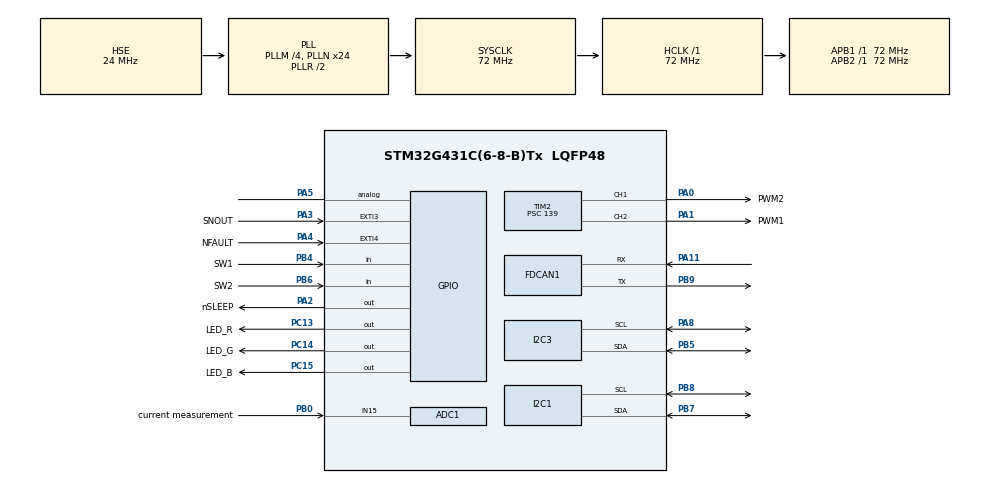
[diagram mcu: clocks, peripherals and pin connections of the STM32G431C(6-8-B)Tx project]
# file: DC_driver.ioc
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ADC1.Channel-10\#ChannelRegularConversion=ADC_CHANNEL_15
ADC1.ClockPrescaler=ADC_CLOCK_SYNC_PCLK_DIV2
ADC1.ContinuousConvMode=ENABLE
ADC1.DMAContinuousRequests=ENABLE
ADC1.NbrOfConversion=1
ADC1.NbrOfConversionFlag=1
ADC1.OffsetNumber-10\#ChannelRegularConversion=ADC_OFFSET_NONE
ADC1.Overrun=ADC_OVR_DATA_OVERWRITTEN
ADC1.Rank-10\#ChannelRegularConversion=1
ADC1.SamplingTime-10\#ChannelRegularConversion=ADC_SAMPLETIME_640CYCLES_5
ADC1.master=1
Dma.ADC1.0.Direction=DMA_PERIPH_TO_MEMORY
Dma.ADC1.0.EventEnable=DISABLE
Dma.ADC1.0.Instance=DMA1_Channel1
Dma.ADC1.0.MemDataAlignment=DMA_MDATAALIGN_HALFWORD
Dma.ADC1.0.MemInc=DMA_MINC_ENABLE
Dma.ADC1.0.Mode=DMA_CIRCULAR
Dma.ADC1.0.PeriphDataAlignment=DMA_PDATAALIGN_HALFWORD
Dma.ADC1.0.PeriphInc=DMA_PINC_DISABLE
Dma.ADC1.0.Polarity=HAL_DMAMUX_REQ_GEN_RISING
Dma.ADC1.0.Priority=DMA_PRIORITY_LOW
Dma.ADC1.0.RequestNumber=1
Dma.ADC1.0.SignalID=NONE
Dma.ADC1.0.SyncEnable=DISABLE
Dma.ADC1.0.SyncPolarity=HAL_DMAMUX_SYNC_NO_EVENT
Dma.ADC1.0.SyncRequestNumber=1
Dma.ADC1.0.SyncSignalID=NONE
Dma.Request0=ADC1
FDCAN1.CalculateBaudRateNominal=900000
FDCAN1.CalculateTimeBitNominal=1111
FDCAN1.CalculateTimeQuantumNominal=222.22222222222223
I2C1.Timing=0x10C18DCC
I2C3.Timing=0x10C18DCC
Mcu.Family=STM32G4
Mcu.Name=STM32G431C(6-8-B)Tx
Mcu.Package=LQFP48
NVIC.DMA1_Channel1_IRQn=true\:2\:0\:true\:false\:true\:false\:true\:true
NVIC.EXTI3_IRQn=true\:8\:0\:true\:false\:true\:true\:true\:true
NVIC.EXTI4_IRQn=true\:8\:0\:true\:false\:true\:true\:true\:true
NVIC.I2C1_ER_IRQn=true\:0\:0\:false\:false\:true\:true\:true\:true
NVIC.I2C1_EV_IRQn=true\:4\:0\:true\:false\:true\:true\:true\:true
NVIC.I2C3_ER_IRQn=true\:0\:0\:false\:false\:true\:true\:true\:true
NVIC.I2C3_EV_IRQn=true\:4\:0\:true\:false\:true\:true\:true\:true
NVIC.PVD_PVM_IRQn=true\:10\:0\:true\:false\:true\:true\:true\:true
NVIC.PriorityGroup=NVIC_PRIORITYGROUP_4
NVIC.RCC_IRQn=true\:1\:0\:true\:false\:true\:true\:false\:true
NVIC.TIM2_IRQn=true\:2\:0\:true\:false\:true\:true\:true\:true
PA0.GPIO_Label=PWM2
PA0.Signal=S_TIM2_CH1
PA1.GPIO_Label=PWM1
PA1.Signal=S_TIM2_CH2
PA11.Mode=FDCAN_Activate
PA11.Signal=FDCAN1_RX
PA13.Mode=JTAG_4_pins
PA13.Signal=SYS_JTMS-SWDIO
PA14.Mode=JTAG_4_pins
PA14.Signal=SYS_JTCK-SWCLK
PA15.Mode=JTAG_4_pins
PA15.Signal=SYS_JTDI
PA2.GPIO_Label=nSLEEP
PA2.Signal=GPIO_Output
PA3.GPIO_Label=SNOUT
PA3.GPIO_PuPd=GPIO_PULLUP
PA3.Signal=GPXTI3
PA4.GPIO_Label=NFAULT
PA4.GPIO_PuPd=GPIO_PULLUP
PA4.Signal=GPXTI4
PA5.Signal=GPIO_Analog
PA8.Mode=I2C
PA8.Signal=I2C3_SCL
PB0.GPIO_Label=current measurement
PB0.Mode=IN15-Single-Ended
PB0.Signal=ADC1_IN15
PB3.Mode=JTAG_4_pins
PB3.Signal=SYS_JTDO-SWO
PB4.GPIO_Label=SW1
PB4.Signal=GPIO_Input
PB5.Mode=I2C
PB5.Signal=I2C3_SDA
PB6.GPIO_Label=SW2
PB6.Signal=GPIO_Input
PB7.Mode=I2C
PB7.Signal=I2C1_SDA
PB8-BOOT0.Mode=I2C
PB8-BOOT0.Signal=I2C1_SCL
PB9.Mode=FDCAN_Activate
PB9.Signal=FDCAN1_TX
PC13.GPIO_Label=LED_R
PC13.Signal=GPIO_Output
PC14-OSC32_IN.GPIO_Label=LED_G
PC14-OSC32_IN.Signal=GPIO_Output
PC15-OSC32_OUT.GPIO_Label=LED_B
PC15-OSC32_OUT.Signal=GPIO_Output
PF0-OSC_IN.Mode=HSE-External-Oscillator
PF0-OSC_IN.Signal=RCC_OSC_IN
PF1-OSC_OUT.Mode=HSE-External-Oscillator
PF1-OSC_OUT.Signal=RCC_OSC_OUT
ProjectManager.HeapSize=0x200
ProjectManager.StackSize=0x400
ProjectManager.TargetToolchain=STM32CubeIDE
RCC.ADC12Freq_Value=72000000
RCC.AHBFreq_Value=72000000
RCC.APB1Freq_Value=72000000
RCC.APB1TimFreq_Value=72000000
RCC.APB2Freq_Value=72000000
RCC.APB2TimFreq_Value=72000000
RCC.CortexFreq_Value=72000000
RCC.EXTERNAL_CLOCK_VALUE=12288000
RCC.HCLKFreq_Value=72000000
RCC.HSE_VALUE=24000000
RCC.HSI48_VALUE=48000000
RCC.HSI_VALUE=16000000
RCC.LSE_VALUE=32768
RCC.PLLM=RCC_PLLM_DIV4
RCC.PLLN=24
RCC.PLLSourceVirtual=RCC_PLLSOURCE_HSE
RCC.SYSCLKFreq_VALUE=72000000
RCC.SYSCLKSource=RCC_SYSCLKSOURCE_PLLCLK
RCC.USBFreq_Value=72000000
RCC.VCOOutputFreq_Value=144000000
SH.S_TIM2_CH1.0=TIM2_CH1,PWM Generation1 CH1
SH.S_TIM2_CH2.0=TIM2_CH2,PWM Generation2 CH2
TIM2.AutoReloadPreload=TIM_AUTORELOAD_PRELOAD_ENABLE
TIM2.Channel-PWM\ Generation1\ CH1=TIM_CHANNEL_1
TIM2.Channel-PWM\ Generation2\ CH2=TIM_CHANNEL_2
TIM2.PeriodNoDither=1022
TIM2.Prescaler=139
TIM2.PulseNoDither_1=0
VP_SYS_VS_DBSignals.Mode=DisableDeadBatterySignals
VP_TIM2_VS_ClockSourceINT.Mode=Internal
board=custom

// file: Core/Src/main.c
/* USER CODE BEGIN Header */
/**
  ******************************************************************************
  * @file           : main.c
  * @brief          : Main program body
  ******************************************************************************
  * @attention
  *
  * Copyright (c) 2024 STMicroelectronics.
  * All rights reserved.
  *
  * This software is licensed under terms that can be found in the LICENSE file
  * in the root directory of this software component.
  * If no LICENSE file comes with this software, it is provided AS-IS.
  *
  ******************************************************************************
  */
/* USER CODE END Header */
#include "main.h"

/* USER CODE BEGIN Includes */
#include "../ECUAL/DC_MOTOR/DC_MOTOR.h"
/* USER CODE END Includes */

ADC_HandleTypeDef hadc1;
DMA_HandleTypeDef hdma_adc1;

FDCAN_HandleTypeDef hfdcan1;

I2C_HandleTypeDef hi2c1;
I2C_HandleTypeDef hi2c3;

TIM_HandleTypeDef htim2;

/* USER CODE BEGIN PV */
#define DC_MOTOR1    0
#define V_OFF 0
#define AV 20
#define R_SENSE 13
/* USER CODE END PV */

void SystemClock_Config(void);
static void MX_GPIO_Init(void);
static void MX_DMA_Init(void);
static void MX_ADC1_Init(void);
static void MX_FDCAN1_Init(void);
static void MX_I2C1_Init(void);
static void MX_I2C3_Init(void);
static void MX_TIM2_Init(void);

/* USER CODE BEGIN 0 */
double current_value(uint16_t voltage)
{
	double current;
	voltage = (voltage*3.3)/4096;
	current = (voltage-V_OFF)/(AV*R_SENSE*0.001);
	return current;
}
/* USER CODE END 0 */

int main(void)
{

	motor_parameters motor1;

  /* MCU Configuration--------------------------------------------------------*/

  /* Reset of all peripherals, Initializes the Flash interface and the Systick. */
  HAL_Init();

  /* Configure the system clock */
  SystemClock_Config();

  /* Initialize all configured peripherals */
  MX_GPIO_Init();
  MX_DMA_Init();
  MX_ADC1_Init();
  MX_FDCAN1_Init();
  MX_I2C1_Init();
  MX_I2C3_Init();
  MX_TIM2_Init();
  /* USER CODE BEGIN 2 */
  HAL_GPIO_WritePin(nSLEEP_GPIO_Port, nSLEEP_Pin, 1);
  HAL_GPIO_WritePin(LED_R_GPIO_Port, LED_R_Pin, 1);
  HAL_GPIO_WritePin(LED_G_GPIO_Port, LED_G_Pin, 0);
  HAL_GPIO_WritePin(LED_B_GPIO_Port, LED_B_Pin, 0);

  volatile static uint16_t voltage_value;
  HAL_ADCEx_Calibration_Start(&hadc1, ADC_SINGLE_ENDED);
  HAL_ADC_Start_DMA(&hadc1, (uint32_t*)&voltage_value, 1);
  DC_MOTOR_Init(DC_MOTOR1, &motor1);

  //DC_MOTOR_Start(DC_MOTOR1, &htim2, DIR_CCW, 0);
  //DC_MOTOR_Set_Speed(DC_MOTOR1, 500);
  //HAL_TIM_PWM_Start(&htim2, TIM_CHANNEL_2);
  //TIM2->CCR2 = 0;

  /* USER CODE END 2 */

  /* Infinite loop */
  /* USER CODE BEGIN WHILE */

  while (1)
  {
	  DC_MOTOR_Set_Dir(DC_MOTOR1, &htim2, &motor1);
	  DC_MOTOR_Set_Speed(DC_MOTOR1, &motor1);

	  while(motor1.speed < 1022)
	          {
	              DC_MOTOR_Set_Speed(DC_MOTOR1, &motor1);
	              motor1.speed += 1;
	              HAL_Delay(1);
	          }
	  while(motor1.speed > 100)
	  	  	  {
		  DC_MOTOR_Set_Speed(DC_MOTOR1, &motor1);
		  motor1.speed -= 1;
	      HAL_Delay(1);
	          }

	 if(motor1.dir == DIR_CW){
		 motor1.dir = DIR_CCW;
		 DC_MOTOR_Stop(DC_MOTOR1, &htim2, &motor1);
	 }else if(motor1.dir==DIR_CCW){
		 motor1.dir = DIR_CW;
		 DC_MOTOR_Stop(DC_MOTOR1, &htim2, &motor1);
	 }
	// DC_MOTOR_Set_Dir(DC_MOTOR1, &htim2, dir);
	 HAL_Delay(2000);

    /* USER CODE END WHILE */

  }
}

void SystemClock_Config(void)
{
  RCC_OscInitTypeDef RCC_OscInitStruct = {0};
  RCC_ClkInitTypeDef RCC_ClkInitStruct = {0};

  /** Configure the main internal regulator output voltage
  */
  HAL_PWREx_ControlVoltageScaling(PWR_REGULATOR_VOLTAGE_SCALE1);

  /** Initializes the RCC Oscillators according to the specified parameters
  * in the RCC_OscInitTypeDef structure.
  */
  RCC_OscInitStruct.OscillatorType = RCC_OSCILLATORTYPE_HSE;
  RCC_OscInitStruct.HSEState = RCC_HSE_ON;
  RCC_OscInitStruct.PLL.PLLState = RCC_PLL_ON;
  RCC_OscInitStruct.PLL.PLLSource = RCC_PLLSOURCE_HSE;
  RCC_OscInitStruct.PLL.PLLM = RCC_PLLM_DIV4;
  RCC_OscInitStruct.PLL.PLLN = 24;
  RCC_OscInitStruct.PLL.PLLP = RCC_PLLP_DIV2;
  RCC_OscInitStruct.PLL.PLLQ = RCC_PLLQ_DIV2;
  RCC_OscInitStruct.PLL.PLLR = RCC_PLLR_DIV2;
  if (HAL_RCC_OscConfig(&RCC_OscInitStruct) != HAL_OK)
  {
    Error_Handler();
  }

  /** Initializes the CPU, AHB and APB buses clocks
  */
  RCC_ClkInitStruct.ClockType = RCC_CLOCKTYPE_HCLK|RCC_CLOCKTYPE_SYSCLK
                              |RCC_CLOCKTYPE_PCLK1|RCC_CLOCKTYPE_PCLK2;
  RCC_ClkInitStruct.SYSCLKSource = RCC_SYSCLKSOURCE_PLLCLK;
  RCC_ClkInitStruct.AHBCLKDivider = RCC_SYSCLK_DIV1;
  RCC_ClkInitStruct.APB1CLKDivider = RCC_HCLK_DIV1;
  RCC_ClkInitStruct.APB2CLKDivider = RCC_HCLK_DIV1;

  if (HAL_RCC_ClockConfig(&RCC_ClkInitStruct, FLASH_LATENCY_2) != HAL_OK)
  {
    Error_Handler();
  }
}

static void MX_ADC1_Init(void)
{

  ADC_MultiModeTypeDef multimode = {0};
  ADC_ChannelConfTypeDef sConfig = {0};

  /** Common config
  */
  hadc1.Instance = ADC1;
  hadc1.Init.ClockPrescaler = ADC_CLOCK_SYNC_PCLK_DIV2;
  hadc1.Init.Resolution = ADC_RESOLUTION_12B;
  hadc1.Init.DataAlign = ADC_DATAALIGN_RIGHT;
  hadc1.Init.GainCompensation = 0;
  hadc1.Init.ScanConvMode = ADC_SCAN_DISABLE;
  hadc1.Init.EOCSelection = ADC_EOC_SINGLE_CONV;
  hadc1.Init.LowPowerAutoWait = DISABLE;
  hadc1.Init.ContinuousConvMode = ENABLE;
  hadc1.Init.NbrOfConversion = 1;
  hadc1.Init.DiscontinuousConvMode = DISABLE;
  hadc1.Init.ExternalTrigConv = ADC_SOFTWARE_START;
  hadc1.Init.ExternalTrigConvEdge = ADC_EXTERNALTRIGCONVEDGE_NONE;
  hadc1.Init.DMAContinuousRequests = ENABLE;
  hadc1.Init.Overrun = ADC_OVR_DATA_OVERWRITTEN;
  hadc1.Init.OversamplingMode = DISABLE;
  if (HAL_ADC_Init(&hadc1) != HAL_OK)
  {
    Error_Handler();
  }

  /** Configure the ADC multi-mode
  */
  multimode.Mode = ADC_MODE_INDEPENDENT;
  if (HAL_ADCEx_MultiModeConfigChannel(&hadc1, &multimode) != HAL_OK)
  {
    Error_Handler();
  }

  /** Configure Regular Channel
  */
  sConfig.Channel = ADC_CHANNEL_15;
  sConfig.Rank = ADC_REGULAR_RANK_1;
  sConfig.SamplingTime = ADC_SAMPLETIME_640CYCLES_5;
  sConfig.SingleDiff = ADC_SINGLE_ENDED;
  sConfig.OffsetNumber = ADC_OFFSET_NONE;
  sConfig.Offset = 0;
  if (HAL_ADC_ConfigChannel(&hadc1, &sConfig) != HAL_OK)
  {
    Error_Handler();
  }

}

static void MX_FDCAN1_Init(void)
{

  hfdcan1.Instance = FDCAN1;
  hfdcan1.Init.ClockDivider = FDCAN_CLOCK_DIV1;
  hfdcan1.Init.FrameFormat = FDCAN_FRAME_CLASSIC;
  hfdcan1.Init.Mode = FDCAN_MODE_NORMAL;
  hfdcan1.Init.AutoRetransmission = DISABLE;
  hfdcan1.Init.TransmitPause = DISABLE;
  hfdcan1.Init.ProtocolException = DISABLE;
  hfdcan1.Init.NominalPrescaler = 16;
  hfdcan1.Init.NominalSyncJumpWidth = 1;
  hfdcan1.Init.NominalTimeSeg1 = 2;
  hfdcan1.Init.NominalTimeSeg2 = 2;
  hfdcan1.Init.DataPrescaler = 1;
  hfdcan1.Init.DataSyncJumpWidth = 1;
  hfdcan1.Init.DataTimeSeg1 = 1;
  hfdcan1.Init.DataTimeSeg2 = 1;
  hfdcan1.Init.StdFiltersNbr = 0;
  hfdcan1.Init.ExtFiltersNbr = 0;
  hfdcan1.Init.TxFifoQueueMode = FDCAN_TX_FIFO_OPERATION;
  if (HAL_FDCAN_Init(&hfdcan1) != HAL_OK)
  {
    Error_Handler();
  }

}

static void MX_I2C1_Init(void)
{

  hi2c1.Instance = I2C1;
  hi2c1.Init.Timing = 0x10C18DCC;
  hi2c1.Init.OwnAddress1 = 0;
  hi2c1.Init.AddressingMode = I2C_ADDRESSINGMODE_7BIT;
  hi2c1.Init.DualAddressMode = I2C_DUALADDRESS_DISABLE;
  hi2c1.Init.OwnAddress2 = 0;
  hi2c1.Init.OwnAddress2Masks = I2C_OA2_NOMASK;
  hi2c1.Init.GeneralCallMode = I2C_GENERALCALL_DISABLE;
  hi2c1.Init.NoStretchMode = I2C_NOSTRETCH_DISABLE;
  if (HAL_I2C_Init(&hi2c1) != HAL_OK)
  {
    Error_Handler();
  }

  /** Configure Analogue filter
  */
  if (HAL_I2CEx_ConfigAnalogFilter(&hi2c1, I2C_ANALOGFILTER_ENABLE) != HAL_OK)
  {
    Error_Handler();
  }

  /** Configure Digital filter
  */
  if (HAL_I2CEx_ConfigDigitalFilter(&hi2c1, 0) != HAL_OK)
  {
    Error_Handler();
  }

}

static void MX_I2C3_Init(void)
{

  hi2c3.Instance = I2C3;
  hi2c3.Init.Timing = 0x10C18DCC;
  hi2c3.Init.OwnAddress1 = 0;
  hi2c3.Init.AddressingMode = I2C_ADDRESSINGMODE_7BIT;
  hi2c3.Init.DualAddressMode = I2C_DUALADDRESS_DISABLE;
  hi2c3.Init.OwnAddress2 = 0;
  hi2c3.Init.OwnAddress2Masks = I2C_OA2_NOMASK;
  hi2c3.Init.GeneralCallMode = I2C_GENERALCALL_DISABLE;
  hi2c3.Init.NoStretchMode = I2C_NOSTRETCH_DISABLE;
  if (HAL_I2C_Init(&hi2c3) != HAL_OK)
  {
    Error_Handler();
  }

  /** Configure Analogue filter
  */
  if (HAL_I2CEx_ConfigAnalogFilter(&hi2c3, I2C_ANALOGFILTER_ENABLE) != HAL_OK)
  {
    Error_Handler();
  }

  /** Configure Digital filter
  */
  if (HAL_I2CEx_ConfigDigitalFilter(&hi2c3, 0) != HAL_OK)
  {
    Error_Handler();
  }

}

static void MX_TIM2_Init(void)
{

  TIM_ClockConfigTypeDef sClockSourceConfig = {0};
  TIM_MasterConfigTypeDef sMasterConfig = {0};
  TIM_OC_InitTypeDef sConfigOC = {0};

  htim2.Instance = TIM2;
  htim2.Init.Prescaler = 139;
  htim2.Init.CounterMode = TIM_COUNTERMODE_UP;
  htim2.Init.Period = 1022;
  htim2.Init.ClockDivision = TIM_CLOCKDIVISION_DIV1;
  htim2.Init.AutoReloadPreload = TIM_AUTORELOAD_PRELOAD_ENABLE;
  if (HAL_TIM_Base_Init(&htim2) != HAL_OK)
  {
    Error_Handler();
  }
  sClockSourceConfig.ClockSource = TIM_CLOCKSOURCE_INTERNAL;
  if (HAL_TIM_ConfigClockSource(&htim2, &sClockSourceConfig) != HAL_OK)
  {
    Error_Handler();
  }
  if (HAL_TIM_PWM_Init(&htim2) != HAL_OK)
  {
    Error_Handler();
  }
  sMasterConfig.MasterOutputTrigger = TIM_TRGO_RESET;
  sMasterConfig.MasterSlaveMode = TIM_MASTERSLAVEMODE_DISABLE;
  if (HAL_TIMEx_MasterConfigSynchronization(&htim2, &sMasterConfig) != HAL_OK)
  {
    Error_Handler();
  }
  sConfigOC.OCMode = TIM_OCMODE_PWM1;
  sConfigOC.Pulse = 0;
  sConfigOC.OCPolarity = TIM_OCPOLARITY_HIGH;
  sConfigOC.OCFastMode = TIM_OCFAST_DISABLE;
  if (HAL_TIM_PWM_ConfigChannel(&htim2, &sConfigOC, TIM_CHANNEL_1) != HAL_OK)
  {
    Error_Handler();
  }
  if (HAL_TIM_PWM_ConfigChannel(&htim2, &sConfigOC, TIM_CHANNEL_2) != HAL_OK)
  {
    Error_Handler();
  }
  HAL_TIM_MspPostInit(&htim2);

}

static void MX_DMA_Init(void)
{

  /* DMA controller clock enable */
  __HAL_RCC_DMAMUX1_CLK_ENABLE();
  __HAL_RCC_DMA1_CLK_ENABLE();

  /* DMA interrupt init */
  /* DMA1_Channel1_IRQn interrupt configuration */
  HAL_NVIC_SetPriority(DMA1_Channel1_IRQn, 2, 0);
  HAL_NVIC_EnableIRQ(DMA1_Channel1_IRQn);

}

static void MX_GPIO_Init(void)
{
  GPIO_InitTypeDef GPIO_InitStruct = {0};

  /* GPIO Ports Clock Enable */
  __HAL_RCC_GPIOC_CLK_ENABLE();
  __HAL_RCC_GPIOF_CLK_ENABLE();
  __HAL_RCC_GPIOA_CLK_ENABLE();
  __HAL_RCC_GPIOB_CLK_ENABLE();

  /*Configure GPIO pin Output Level */
  HAL_GPIO_WritePin(GPIOC, LED_R_Pin|LED_G_Pin|LED_B_Pin, GPIO_PIN_RESET);

  /*Configure GPIO pin Output Level */
  HAL_GPIO_WritePin(nSLEEP_GPIO_Port, nSLEEP_Pin, GPIO_PIN_RESET);

  /*Configure GPIO pins : LED_R_Pin LED_G_Pin LED_B_Pin */
  GPIO_InitStruct.Pin = LED_R_Pin|LED_G_Pin|LED_B_Pin;
  GPIO_InitStruct.Mode = GPIO_MODE_OUTPUT_PP;
  GPIO_InitStruct.Pull = GPIO_NOPULL;
  GPIO_InitStruct.Speed = GPIO_SPEED_FREQ_LOW;
  HAL_GPIO_Init(GPIOC, &GPIO_InitStruct);

  /*Configure GPIO pin : nSLEEP_Pin */
  GPIO_InitStruct.Pin = nSLEEP_Pin;
  GPIO_InitStruct.Mode = GPIO_MODE_OUTPUT_PP;
  GPIO_InitStruct.Pull = GPIO_NOPULL;
  GPIO_InitStruct.Speed = GPIO_SPEED_FREQ_LOW;
  HAL_GPIO_Init(nSLEEP_GPIO_Port, &GPIO_InitStruct);

  /*Configure GPIO pins : SNOUT_Pin NFAULT_Pin */
  GPIO_InitStruct.Pin = SNOUT_Pin|NFAULT_Pin;
  GPIO_InitStruct.Mode = GPIO_MODE_IT_RISING;
  GPIO_InitStruct.Pull = GPIO_PULLUP;
  HAL_GPIO_Init(GPIOA, &GPIO_InitStruct);

  /*Configure GPIO pin : PA5 */
  GPIO_InitStruct.Pin = GPIO_PIN_5;
  GPIO_InitStruct.Mode = GPIO_MODE_ANALOG;
  GPIO_InitStruct.Pull = GPIO_NOPULL;
  HAL_GPIO_Init(GPIOA, &GPIO_InitStruct);

  /*Configure GPIO pins : SW1_Pin SW2_Pin */
  GPIO_InitStruct.Pin = SW1_Pin|SW2_Pin;
  GPIO_InitStruct.Mode = GPIO_MODE_INPUT;
  GPIO_InitStruct.Pull = GPIO_NOPULL;
  HAL_GPIO_Init(GPIOB, &GPIO_InitStruct);

  /* EXTI interrupt init*/
  HAL_NVIC_SetPriority(EXTI3_IRQn, 8, 0);
  HAL_NVIC_EnableIRQ(EXTI3_IRQn);

  HAL_NVIC_SetPriority(EXTI4_IRQn, 8, 0);
  HAL_NVIC_EnableIRQ(EXTI4_IRQn);

}

void Error_Handler(void)
{
  __disable_irq();
  while (1)
  {
  }
}
